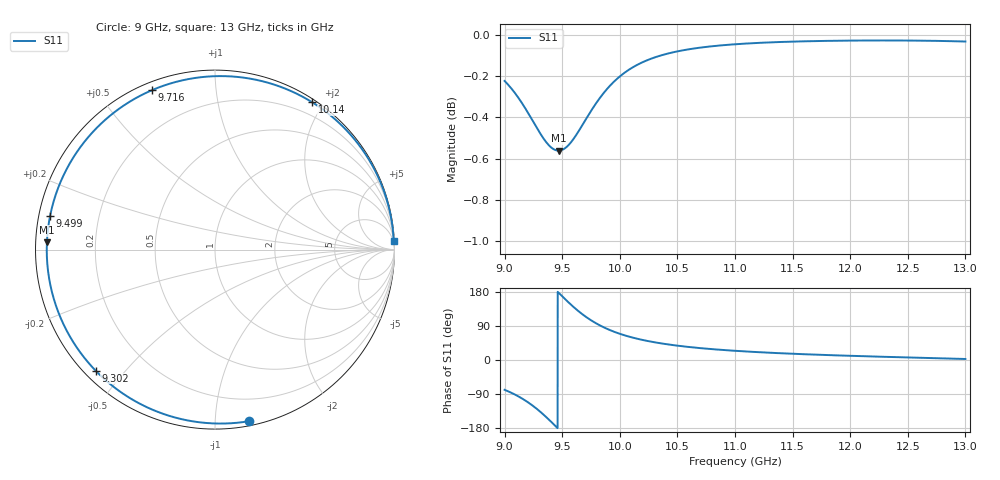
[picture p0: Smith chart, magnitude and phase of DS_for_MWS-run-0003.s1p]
! TOUCHSTONE file generated by CST DESIGN STUDIO
! Date and time: Tue Feb  4 15:49:47 2025
! Project name: C:\Work\MatlabApps\UnitCellOptimizationMatlab\CST\unitcell.cst
! Tree item: Tasks\Sweep1\SPara1\S-Parameters
! Header version: 2024
! Port assignment regex: !\s*Touchstone port\s*([0-9]+)\s*=\s*(CST MWS port|CST DES external port|CST DES block port)\s*(.+)\s* \(\"(.*)\"\)(\s*mode\s*([0-9]+))?.*
! Touchstone port assignment:
! Touchstone port 1 = CST DES external port 1 ("")
# GHz S MA R 50
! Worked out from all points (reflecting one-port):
!   4001 points, 9 GHz to 13 GHz, reference 50 ohm
!   lowest |S11| = -0.6 dB at 9.469 GHz (marker M1), VSWR 30.95, Z = 1.62 + j1.11 ohm
!   phase of S11 starts at -79 deg and turns -279 deg over the sweep
!   S11 on the Smith chart (normalised r, x): 9 GHz: 0.03, -1.22; 9.302 GHz: 0.03, -0.42; 9.499 GHz: 0.03, +0.10; 9.716 GHz: 0.03, +0.68; 10.14 GHz: 0.04, +1.86; 13 GHz: 3, +43
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9  0.9747 -78.7
9.074  0.9694 -88.8
9.171  0.9607 -105.2
9.239  0.9537 -119.4
9.302  0.9472 -134.6
9.346  0.9431 -146.4
9.392  0.9397 -159.5
9.431  0.938 -171.1
9.469  0.9374 177.4
9.499  0.9378 168.4
9.5  0.9378 168.1
9.552  0.9401 152.8
9.611  0.9447 136.6
9.663  0.9497 123.6
9.716  0.9551 111.7
9.772  0.9605 100.7
9.834  0.966 90.2
9.915  0.9721 78.9
10  0.9771 69.2
10.145  0.9833 56.6
10.305  0.9876 46.6
10.5  0.9909 37.8
10.722  0.9932 30.7
11  0.9949 24.3
11.5  0.9964 16.5
12  0.9969 11.1
12.5  0.997 6.7
13  0.9964 2.7
